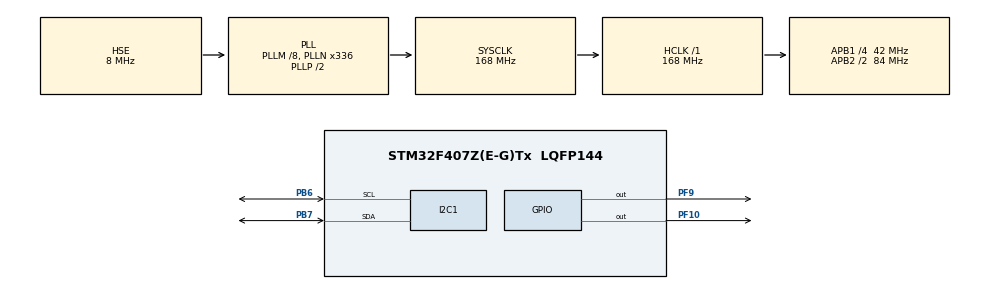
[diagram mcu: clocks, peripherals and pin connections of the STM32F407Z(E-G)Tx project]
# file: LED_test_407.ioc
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Mcu.Family=STM32F4
Mcu.Name=STM32F407Z(E-G)Tx
Mcu.Package=LQFP144
NVIC.PriorityGroup=NVIC_PRIORITYGROUP_4
PA13.Mode=Serial_Wire
PA13.Signal=SYS_JTMS-SWDIO
PA14.Mode=Serial_Wire
PA14.Signal=SYS_JTCK-SWCLK
PB6.Mode=I2C
PB6.Signal=I2C1_SCL
PB7.Mode=I2C
PB7.Signal=I2C1_SDA
PC14-OSC32_IN.Mode=LSE-External-Oscillator
PC14-OSC32_IN.Signal=RCC_OSC32_IN
PC15-OSC32_OUT.Mode=LSE-External-Oscillator
PC15-OSC32_OUT.Signal=RCC_OSC32_OUT
PF10.Signal=GPIO_Output
PF9.Signal=GPIO_Output
PH0-OSC_IN.Mode=HSE-External-Oscillator
PH0-OSC_IN.Signal=RCC_OSC_IN
PH1-OSC_OUT.Mode=HSE-External-Oscillator
PH1-OSC_OUT.Signal=RCC_OSC_OUT
ProjectManager.HeapSize=0x200
ProjectManager.StackSize=0x400
ProjectManager.TargetToolchain=TrueSTUDIO
RCC.48MHZClocksFreq_Value=84000000
RCC.AHBFreq_Value=168000000
RCC.APB1CLKDivider=RCC_HCLK_DIV4
RCC.APB1Freq_Value=42000000
RCC.APB1TimFreq_Value=84000000
RCC.APB2CLKDivider=RCC_HCLK_DIV2
RCC.APB2Freq_Value=84000000
RCC.APB2TimFreq_Value=168000000
RCC.CortexFreq_Value=168000000
RCC.HCLKFreq_Value=168000000
RCC.HSE_VALUE=8000000
RCC.HSI_VALUE=16000000
RCC.PLLM=8
RCC.PLLN=336
RCC.PLLSourceVirtual=RCC_PLLSOURCE_HSE
RCC.RCC_RTC_Clock_Source=RCC_RTCCLKSOURCE_LSE
RCC.RCC_RTC_Clock_SourceVirtual=RCC_RTCCLKSOURCE_LSE
RCC.SYSCLKFreq_VALUE=168000000
RCC.SYSCLKSource=RCC_SYSCLKSOURCE_PLLCLK
RCC.VCOOutputFreq_Value=336000000
RTC.Date=19
RTC.Hours=20
RTC.Minutes=49
RTC.Month=RTC_MONTH_FEBRUARY
RTC.Seconds=10
RTC.WeekDay=RTC_WEEKDAY_WEDNESDAY
RTC.Year=20
VP_RTC_VS_RTC_Activate.Mode=RTC_Enabled
VP_RTC_VS_RTC_Calendar.Mode=RTC_Calendar
VP_RTC_VS_RTC_WakeUp_intern.Mode=WakeUp
board=custom

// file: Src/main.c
/* USER CODE BEGIN Header */
/**
  ******************************************************************************
  * @file           : main.c
  * @brief          : Main program body
  ******************************************************************************
  * @attention
  *
  * <h2><center>&copy; Copyright (c) 2020 STMicroelectronics.
  * All rights reserved.</center></h2>
  *
  * This software component is licensed by ST under BSD 3-Clause license,
  * the "License"; You may not use this file except in compliance with the
  * License. You may obtain a copy of the License at:
  *                        opensource.org/licenses/BSD-3-Clause
  *
  ******************************************************************************
  */
/* USER CODE END Header */

#include "main.h"
#include "i2c.h"
#include "rtc.h"
#include "gpio.h"

/* USER CODE BEGIN Includes */
#include "oleds.h"
#include "stdio.h"
/* USER CODE END Includes */

/* USER CODE BEGIN PTD */
RTC_DateTypeDef sdatestructure;
RTC_TimeTypeDef stimestructure;
/* USER CODE END PTD */

void SystemClock_Config(void);

int main(void)
{
  /* USER CODE BEGIN 1 */
  uint8_t tbuf[40];
  /* USER CODE END 1 */

  /* MCU Configuration--------------------------------------------------------*/

  /* Reset of all peripherals, Initializes the Flash interface and the Systick. */
  HAL_Init();

  /* Configure the system clock */
  SystemClock_Config();

  /* Initialize all configured peripherals */
  MX_GPIO_Init();
  MX_I2C1_Init();
  MX_RTC_Init();
  /* USER CODE BEGIN 2 */
  OLED_Init();
  OLED_CLS();
  OLED_ShowStr(1,0,(uint8_t *)"Designed by Joe_joe",1);
  /* USER CODE END 2 */

  /* Infinite loop */
  while (1)
  {

    /* USER CODE BEGIN 3 */
	  HAL_RTC_GetTime(&hrtc,&stimestructure,RTC_FORMAT_BIN);
	  sprintf((char*)tbuf,"Time:%02d:%02d:%02d",stimestructure.Hours,stimestructure.Minutes,stimestructure.Seconds);
	  OLED_ShowStr(1,1,tbuf,1);
	  HAL_RTC_GetDate(&hrtc,&sdatestructure,RTC_FORMAT_BIN);
	  sprintf((char*)tbuf,"Date:20%02d-%02d-%02d",sdatestructure.Year,sdatestructure.Month,sdatestructure.Date);
	  OLED_ShowStr(1,2,tbuf,1);
	  HAL_Delay(1000);
//	  HAL_GPIO_TogglePin(GPIOF,GPIO_PIN_9);
//	  HAL_Delay(500);
//	  HAL_GPIO_TogglePin(GPIOF,GPIO_PIN_10);
//	  HAL_Delay(500);
//	  HAL_GPIO_TogglePin(GPIOF,GPIO_PIN_9);
//	  HAL_Delay(500);
//	  HAL_GPIO_TogglePin(GPIOF,GPIO_PIN_10);
//	  HAL_Delay(500);
  }
  /* USER CODE END 3 */
}

void SystemClock_Config(void)
{
  RCC_OscInitTypeDef RCC_OscInitStruct = {0};
  RCC_ClkInitTypeDef RCC_ClkInitStruct = {0};
  RCC_PeriphCLKInitTypeDef PeriphClkInitStruct = {0};

  /** Configure the main internal regulator output voltage
  */
  __HAL_RCC_PWR_CLK_ENABLE();
  __HAL_PWR_VOLTAGESCALING_CONFIG(PWR_REGULATOR_VOLTAGE_SCALE1);
  /** Initializes the CPU, AHB and APB busses clocks
  */
  RCC_OscInitStruct.OscillatorType = RCC_OSCILLATORTYPE_HSE|RCC_OSCILLATORTYPE_LSE;
  RCC_OscInitStruct.HSEState = RCC_HSE_ON;
  RCC_OscInitStruct.LSEState = RCC_LSE_ON;
  RCC_OscInitStruct.PLL.PLLState = RCC_PLL_ON;
  RCC_OscInitStruct.PLL.PLLSource = RCC_PLLSOURCE_HSE;
  RCC_OscInitStruct.PLL.PLLM = 8;
  RCC_OscInitStruct.PLL.PLLN = 336;
  RCC_OscInitStruct.PLL.PLLP = RCC_PLLP_DIV2;
  RCC_OscInitStruct.PLL.PLLQ = 4;
  if (HAL_RCC_OscConfig(&RCC_OscInitStruct) != HAL_OK)
  {
    Error_Handler();
  }
  /** Initializes the CPU, AHB and APB busses clocks
  */
  RCC_ClkInitStruct.ClockType = RCC_CLOCKTYPE_HCLK|RCC_CLOCKTYPE_SYSCLK
                              |RCC_CLOCKTYPE_PCLK1|RCC_CLOCKTYPE_PCLK2;
  RCC_ClkInitStruct.SYSCLKSource = RCC_SYSCLKSOURCE_PLLCLK;
  RCC_ClkInitStruct.AHBCLKDivider = RCC_SYSCLK_DIV1;
  RCC_ClkInitStruct.APB1CLKDivider = RCC_HCLK_DIV4;
  RCC_ClkInitStruct.APB2CLKDivider = RCC_HCLK_DIV2;

  if (HAL_RCC_ClockConfig(&RCC_ClkInitStruct, FLASH_LATENCY_5) != HAL_OK)
  {
    Error_Handler();
  }
  PeriphClkInitStruct.PeriphClockSelection = RCC_PERIPHCLK_RTC;
  PeriphClkInitStruct.RTCClockSelection = RCC_RTCCLKSOURCE_LSE;
  if (HAL_RCCEx_PeriphCLKConfig(&PeriphClkInitStruct) != HAL_OK)
  {
    Error_Handler();
  }
}

void Error_Handler(void)
{
}

/************************ (C) COPYRIGHT STMicroelectronics *****END OF FILE****/
